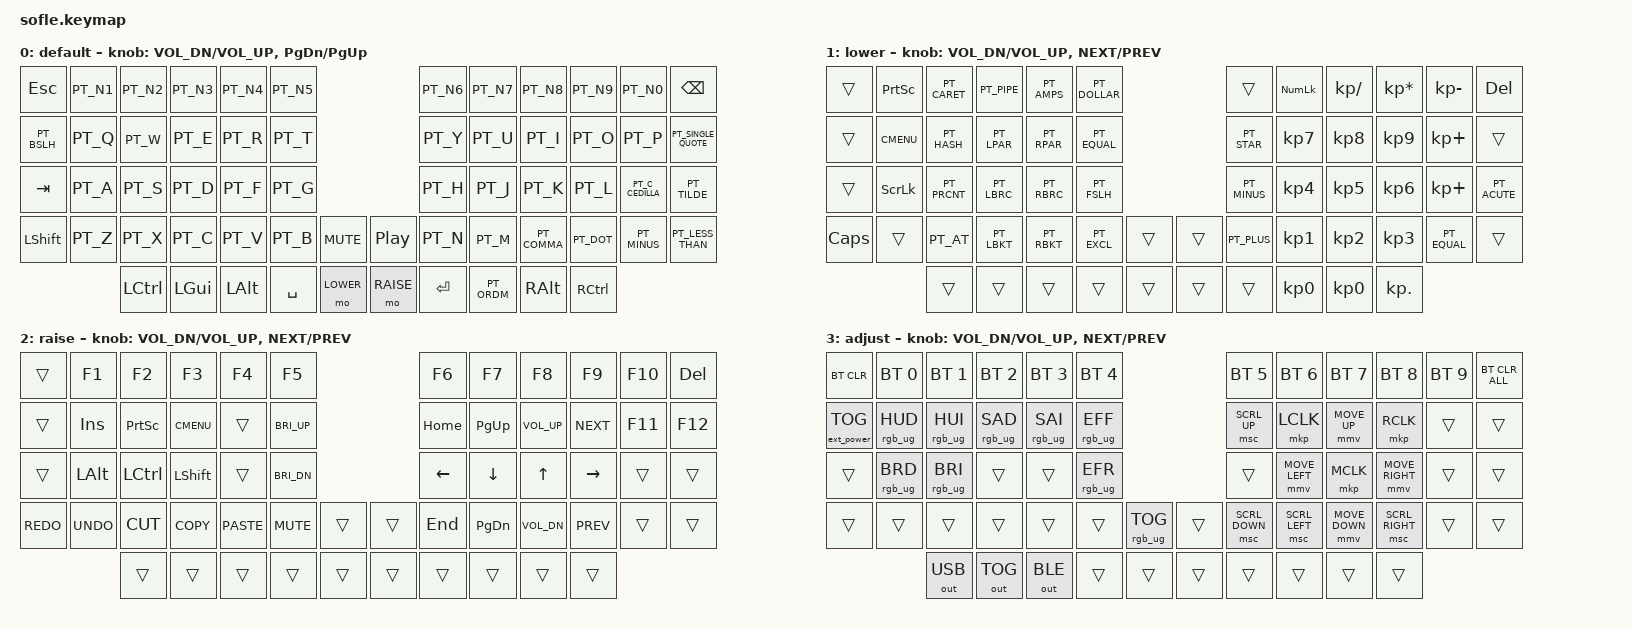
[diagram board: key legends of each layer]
/*
 * Copyright (c) 2020 The ZMK Contributors
 *
 * SPDX-License-Identifier: MIT
 */

#include <behaviors.dtsi>
#include <dt-bindings/zmk/keys.h>
#include <dt-bindings/zmk/bt.h>
#include <dt-bindings/zmk/rgb.h>
#include <dt-bindings/zmk/ext_power.h>
#include <dt-bindings/zmk/outputs.h>

#define ZMK_POINTING_DEFAULT_MOVE_VAL 1000  // default: 600
#define ZMK_POINTING_DEFAULT_SCRL_VAL 20    // default: 10
#include <dt-bindings/zmk/pointing.h>

// For a list of available locales, check the link below
// https://github.com/joelspadin/zmk-locales/tree/main/include/locale
#include <locale/keys_pt.h>

#define BASE   0
#define LOWER  1
#define RAISE  2
#define ADJUST 3

//Encoder Support
//Alps Alpine EC11N1524402: 30 Detent, 15PPR, 2 Channel, Quadrature, 15000 Cycle
/ {
    left_encoder: encoder_left {
        compatible = "alps,ec11";
        a-gpios = <&pro_micro 21 (GPIO_ACTIVE_HIGH | GPIO_PULL_UP)>;
        b-gpios = <&pro_micro 20 (GPIO_ACTIVE_HIGH | GPIO_PULL_UP)>;
        steps = <80>;
    };
    right_encoder: encoder_right {
        compatible = "alps,ec11";
        a-gpios = <&pro_micro 21 (GPIO_ACTIVE_HIGH | GPIO_PULL_UP)>;
        b-gpios = <&pro_micro 20 (GPIO_ACTIVE_HIGH | GPIO_PULL_UP)>;
        steps = <80>;
    };
    sensors {
        compatible = "zmk,keymap-sensors";
        sensors = <&left_encoder &right_encoder>;
        triggers-per-rotation = <20>;
    };
};

/ {
   // Activate ADJUST layer by pressing raise and lower
    conditional_layers {
        compatible = "zmk,conditional-layers";
        adjust_layer {
            if-layers = <LOWER RAISE>;
            then-layer = <ADJUST>;
        };
    };

    keymap {
        compatible = "zmk,keymap";

        default_layer {
            display-name = "default";
            bindings = <
//    ┌──────┬──────┬──────┬──────┬──────┬──────┐                           ┌──────┬─────────┬──────┬──────┬────────────────┬──────┐
//    │ esc  │ PT_1 │ PT_2 │ PT_3 │ PT_4 │ PT_5 │                           │ PT_6 │  PT_7   │ PT_8 │ PT_9 │      PT_0      │ bspc │
//    ├──────┼──────┼──────┼──────┼──────┼──────┤                           ├──────┼─────────┼──────┼──────┼────────────────┼──────┤
//    │ PT_\ │ PT_Q │ PT_W │ PT_E │ PT_R │ PT_T │                           │ PT_Y │  PT_U   │ PT_I │ PT_O │      PT_P      │ PT_' │
//    ├──────┼──────┼──────┼──────┼──────┼──────┤                           ├──────┼─────────┼──────┼──────┼────────────────┼──────┤
//    │ tab  │ PT_A │ PT_S │ PT_D │ PT_F │ PT_G │                           │ PT_H │  PT_J   │ PT_K │ PT_L │ PT_C_CEDILlalt │ PT_~ │
//    ├──────┼──────┼──────┼──────┼──────┼──────┼──────────┐   ┌────────────┼──────┼─────────┼──────┼──────┼────────────────┼──────┤
//    │ lsft │ PT_Z │ PT_X │ PT_C │ PT_V │ PT_B │   mute   │   │    play    │ PT_N │  PT_M   │ PT_, │ PT_. │      PT_-      │ PT_< │
//    └──────┴──────┼──────┼──────┼──────┼──────┼──────────┤   ├────────────┼──────┼─────────┼──────┼──────┼────────────────┴──────┘
//                  │ lctl │ lgui │ lalt │ spc  │ mo LOWER │   │ mo raltISE │ ent  │ PT_ORDM │ ralt │ rctl │
//                  └──────┴──────┴──────┴──────┴──────────┘   └────────────┴──────┴─────────┴──────┴──────┘
  &kp ESC       &kp PT_N1   &kp PT_N2   &kp PT_N3   &kp PT_N4   &kp PT_N5                                &kp PT_N6   &kp PT_N7     &kp PT_N8      &kp PT_N9    &kp PT_N0          &kp BSPC
  &kp PT_BSLH   &kp PT_Q    &kp PT_W    &kp PT_E    &kp PT_R    &kp PT_T                                 &kp PT_Y    &kp PT_U      &kp PT_I       &kp PT_O     &kp PT_P           &kp PT_SINGLE_QUOTE
  &kp TAB       &kp PT_A    &kp PT_S    &kp PT_D    &kp PT_F    &kp PT_G                                 &kp PT_H    &kp PT_J      &kp PT_K       &kp PT_L     &kp PT_C_CEDILLA   &kp PT_TILDE
  &kp LSHFT     &kp PT_Z    &kp PT_X    &kp PT_C    &kp PT_V    &kp PT_B    &kp C_MUTE       &kp C_PP    &kp PT_N    &kp PT_M      &kp PT_COMMA   &kp PT_DOT   &kp PT_MINUS       &kp PT_LESS_THAN
                            &kp LCTRL   &kp LGUI    &kp LALT    &kp SPACE   &mo LOWER        &mo RAISE   &kp RET     &kp PT_ORDM   &kp RALT       &kp RCTRL
            >;
            sensor-bindings = <&inc_dec_kp C_VOL_DN C_VOL_UP &inc_dec_kp PG_DN PG_UP>;
        };

        lower_layer {
            display-name = "lower";
            bindings = <
//    ┌──────┬──────┬──────┬──────┬──────┬──────┐               ┌──────┬──────┬──────┬──────┬──────┬──────────┐
//    │      │ pscr │ PT_^ │ PT_| │ PT_& │ PT_$ │               │      │ nlck │ kp_/ │ kp_* │ kp_- │   del    │
//    ├──────┼──────┼──────┼──────┼──────┼──────┤               ├──────┼──────┼──────┼──────┼──────┼──────────┤
//    │      │ app  │ PT_# │ PT_( │ PT_) │ PT_= │               │ PT_* │  7   │  8   │  9   │ kp_+ │          │
//    ├──────┼──────┼──────┼──────┼──────┼──────┤               ├──────┼──────┼──────┼──────┼──────┼──────────┤
//    │      │ slck │ PT_% │ PT_{ │ PT_} │ PT_/ │               │ PT_- │  4   │  5   │  6   │ kp_+ │ PT_ACUTE │
//    ├──────┼──────┼──────┼──────┼──────┼──────┼─────┐   ┌─────┼──────┼──────┼──────┼──────┼──────┼──────────┤
//    │ caps │      │ PT_@ │ PT_[ │ PT_] │ PT_! │     │   │     │ PT_+ │  1   │  2   │  3   │ PT_= │          │
//    └──────┴──────┼──────┼──────┼──────┼──────┼─────┤   ├─────┼──────┼──────┼──────┼──────┼──────┴──────────┘
//                  │      │      │      │      │     │   │     │      │  0   │  0   │ kp_. │
//                  └──────┴──────┴──────┴──────┴─────┘   └─────┴──────┴──────┴──────┴──────┘
  &trans     &kp PSCRN     &kp PT_CARET   &kp PT_PIPE   &kp PT_AMPS   &kp PT_DOLLAR                         &trans         &kp KP_NUM   &kp KP_DIVIDE   &kp KP_MULTIPLY   &kp KP_MINUS   &kp DEL
  &trans     &kp K_CMENU   &kp PT_HASH    &kp PT_LPAR   &kp PT_RPAR   &kp PT_EQUAL                          &kp PT_STAR    &kp KP_N7    &kp KP_N8       &kp KP_N9         &kp KP_PLUS    &trans
  &trans     &kp SLCK      &kp PT_PRCNT   &kp PT_LBRC   &kp PT_RBRC   &kp PT_FSLH                           &kp PT_MINUS   &kp KP_N4    &kp KP_N5       &kp KP_N6         &kp KP_PLUS    &kp PT_ACUTE
  &kp CAPS   &trans        &kp PT_AT      &kp PT_LBKT   &kp PT_RBKT   &kp PT_EXCL     &trans       &trans   &kp PT_PLUS    &kp KP_N1    &kp KP_N2       &kp KP_N3         &kp PT_EQUAL   &trans
                           &trans         &trans        &trans        &trans          &trans       &trans   &trans         &kp KP_N0    &kp KP_N0       &kp KP_DOT
            >;
            sensor-bindings = <&inc_dec_kp C_VOL_DN C_VOL_UP &inc_dec_kp C_NEXT C_PREV>;
        };

        raise_layer {
            display-name = "raise";
            bindings = <
//    ┌───────┬──────┬──────┬──────┬─────────┬──────┐               ┌──────┬──────┬──────┬──────┬─────┬─────┐
//    │       │  f1  │  f2  │  f3  │   f4    │  f5  │               │  f6  │  f7  │  f8  │  f9  │ f10 │ del │
//    ├───────┼──────┼──────┼──────┼─────────┼──────┤               ├──────┼──────┼──────┼──────┼─────┼─────┤
//    │       │ ins  │ pscr │ app  │         │ bri+ │               │ home │ pgup │ volu │ next │ f11 │ f12 │
//    ├───────┼──────┼──────┼──────┼─────────┼──────┤               ├──────┼──────┼──────┼──────┼─────┼─────┤
//    │       │ lalt │ lctl │ lsft │         │ bri- │               │ left │ down │  up  │ rght │     │     │
//    ├───────┼──────┼──────┼──────┼─────────┼──────┼─────┐   ┌─────┼──────┼──────┼──────┼──────┼─────┼─────┤
//    │ again │ undo │ cut  │ copy │ K_PASTE │ mute │     │   │     │ end  │ pgdn │ vold │ prev │     │     │
//    └───────┴──────┼──────┼──────┼─────────┼──────┼─────┤   ├─────┼──────┼──────┼──────┼──────┼─────┴─────┘
//                   │      │      │         │      │     │   │     │      │      │      │      │
//                   └──────┴──────┴─────────┴──────┴─────┘   └─────┴──────┴──────┴──────┴──────┘
  &trans       &kp F1       &kp F2      &kp F3        &kp F4        &kp F5                               &kp F6     &kp F7      &kp F8         &kp F9       &kp F10   &kp DEL
  &trans       &kp INS      &kp PSCRN   &kp K_CMENU   &trans        &kp C_BRI_UP                         &kp HOME   &kp PG_UP   &kp C_VOL_UP   &kp C_NEXT   &kp F11   &kp F12
  &trans       &kp LALT     &kp LCTRL   &kp LSHFT     &trans        &kp C_BRI_DN                         &kp LEFT   &kp DOWN    &kp UP         &kp RIGHT    &trans    &trans
  &kp K_REDO   &kp K_UNDO   &kp K_CUT   &kp K_COPY    &kp K_PASTE   &kp C_MUTE     &trans       &trans   &kp END    &kp PG_DN   &kp C_VOL_DN   &kp C_PREV   &trans    &trans
                            &trans      &trans        &trans        &trans         &trans       &trans   &trans     &trans      &trans         &trans
            >;
            sensor-bindings = <&inc_dec_kp C_VOL_DN C_VOL_UP &inc_dec_kp C_NEXT C_PREV>;
        };

        adjust_layer {
            display-name = "adjust";
            bindings = <
//    ┌───────────┬──────────┬──────────┬──────────┬──────────┬──────────┐                   ┌────────────────┬────────────────┬────────────────┬────────────────┬──────────┬────────────┐
//    │  bt_clr   │ bt_sel 0 │ bt_sel 1 │ bt_sel 2 │ bt_sel 3 │ bt_sel 4 │                   │    bt_sel 5    │    bt_sel 6    │    bt_sel 7    │    bt_sel 8    │ bt_sel 9 │ bt_clr_ALL │
//    ├───────────┼──────────┼──────────┼──────────┼──────────┼──────────┤                   ├────────────────┼────────────────┼────────────────┼────────────────┼──────────┼────────────┤
//    │ epwr_ tog │ ug_ hu-  │ ug_ hu+  │ ug_ sa-  │ ug_ sa+  │ ug_ eff  │                   │  &msc SCRL_up  │      lclk      │  &mmv MOVE_up  │      rclk      │          │            │
//    ├───────────┼──────────┼──────────┼──────────┼──────────┼──────────┤                   ├────────────────┼────────────────┼────────────────┼────────────────┼──────────┼────────────┤
//    │           │ ug_ br-  │ ug_ br+  │          │          │ ug_ efr  │                   │                │ &mmv MOVE_left │      mclk      │ &mmv MOVE_rght │          │            │
//    ├───────────┼──────────┼──────────┼──────────┼──────────┼──────────┼─────────┐   ┌─────┼────────────────┼────────────────┼────────────────┼────────────────┼──────────┼────────────┤
//    │           │          │          │          │          │          │ ug_ tog │   │     │ &msc SCRL_down │ &msc SCRL_left │ &mmv MOVE_down │ &msc SCRL_rght │          │            │
//    └───────────┴──────────┼──────────┼──────────┼──────────┼──────────┼─────────┤   ├─────┼────────────────┼────────────────┼────────────────┼────────────────┼──────────┴────────────┘
//                           │ out_ usb │ out_ tog │ out_ ble │          │         │   │     │                │                │                │                │
//                           └──────────┴──────────┴──────────┴──────────┴─────────┘   └─────┴────────────────┴────────────────┴────────────────┴────────────────┘
  &bt BT_CLR          &bt BT_SEL 0      &bt BT_SEL 1      &bt BT_SEL 2      &bt BT_SEL 3      &bt BT_SEL 4                                     &bt BT_SEL 5     &bt BT_SEL 6     &bt BT_SEL 7     &bt BT_SEL 8      &bt BT_SEL 9   &bt BT_CLR_ALL
  &ext_power EP_TOG   &rgb_ug RGB_HUD   &rgb_ug RGB_HUI   &rgb_ug RGB_SAD   &rgb_ug RGB_SAI   &rgb_ug RGB_EFF                                  &msc SCRL_UP     &mkp LCLK        &mmv MOVE_UP     &mkp RCLK         &trans         &trans
  &trans              &rgb_ug RGB_BRD   &rgb_ug RGB_BRI   &trans            &trans            &rgb_ug RGB_EFR                                  &trans           &mmv MOVE_LEFT   &mkp MCLK        &mmv MOVE_RIGHT   &trans         &trans
  &trans              &trans            &trans            &trans            &trans            &trans            &rgb_ug RGB_TOG       &trans   &msc SCRL_DOWN   &msc SCRL_LEFT   &mmv MOVE_DOWN   &msc SCRL_RIGHT   &trans         &trans
                                        &out OUT_USB      &out OUT_TOG      &out OUT_BLE      &trans            &trans                &trans   &trans           &trans           &trans           &trans
            >;

            sensor-bindings = <&inc_dec_kp C_VOL_DN C_VOL_UP &inc_dec_kp C_NEXT C_PREV>;
        };
    };
};
